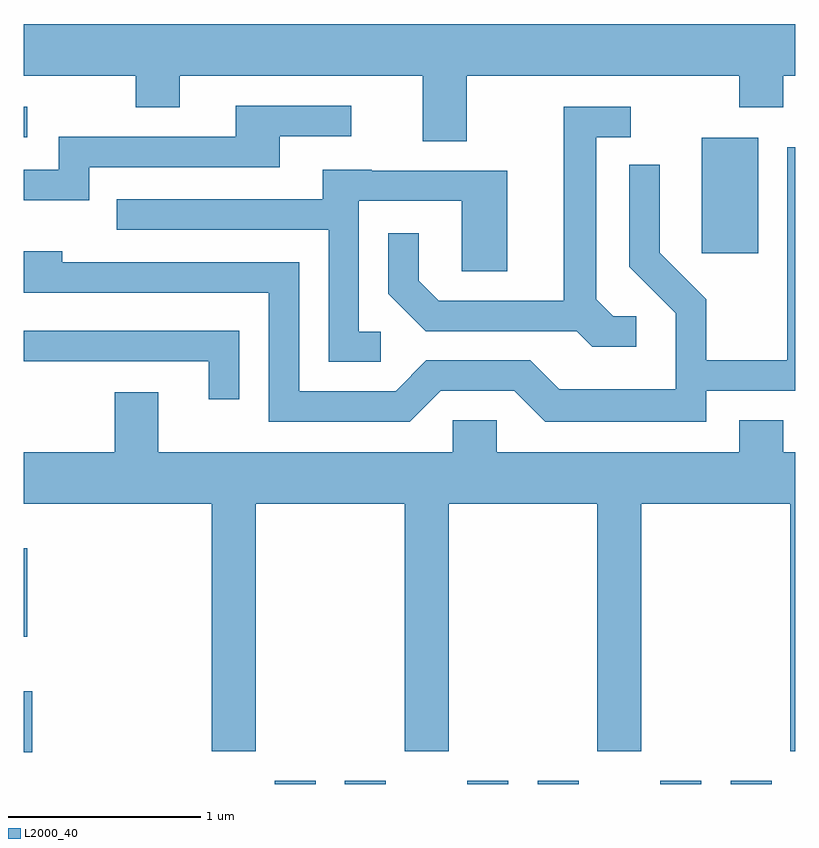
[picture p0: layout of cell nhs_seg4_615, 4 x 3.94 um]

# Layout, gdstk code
import gdstk
lib = gdstk.Library(unit=1e-6, precision=1e-09)
def R(c, l, rs):  # rectangles x0, y0, x1, y1
    for r in rs: c.add(gdstk.rectangle(r[:2], r[2:], *l))
def P(c, l, *ps):  # polygons
    for p in ps: c.add(gdstk.Polygon(p, *l))
L2000_40 = (2000, 40)

nhs_seg4_615 = lib.new_cell('nhs_seg4_615')
R(nhs_seg4_615, L2000_40, [(204.911,1259.982,205.124,1259.999), (205.276,1259.982,205.489,1259.999), (205.911,1259.982,206.124,1259.999), (206.276,1259.982,206.489,1259.999), (206.911,1259.982,207.124,1259.999), (207.276,1259.982,207.489,1259.999), (203.611,1260.146,203.654,1260.464), (203.611,1260.746,203.629,1261.204), (207.126,1262.736,207.419,1263.334), (203.611,1263.336,203.628,1263.494)])
P(nhs_seg4_615, L2000_40, [(205.909,1263.656),(207.321,1263.656),(207.321,1263.491),(207.549,1263.491),(207.549,1263.656),(207.611,1263.656),(207.611,1263.924),(203.611,1263.924),(203.611,1263.656),(204.191,1263.656),(204.191,1263.491),(204.419,1263.491),(204.419,1263.656),(205.681,1263.656),(205.681,1263.316),(205.909,1263.316)],
  [(203.949,1263.181),(204.939,1263.181),(204.939,1263.341),(205.308,1263.341),(205.308,1263.499),(204.711,1263.499),(204.711,1263.339),(203.791,1263.339),(203.791,1263.169),(203.611,1263.169),(203.611,1263.011),(203.949,1263.011)],
  [(206.788,1262.409),(206.667,1262.409),(206.579,1262.497),(206.579,1263.336),(206.758,1263.336),(206.758,1263.494),(206.411,1263.494),(206.411,1262.489),(205.762,1262.489),(205.659,1262.592),(205.659,1262.838),(205.501,1262.838),(205.501,1262.524),(205.694,1262.331),(206.479,1262.331),(206.559,1262.251),(206.788,1262.251)],
  [(205.772,1262.021),(206.154,1262.021),(206.314,1261.861),(207.149,1261.861),(207.149,1262.021),(207.611,1262.021),(207.611,1263.284),(207.571,1263.284),(207.571,1262.179),(207.149,1262.179),(207.149,1262.497),(206.909,1262.737),(206.909,1263.193),(206.751,1263.193),(206.751,1262.664),(206.991,1262.424),(206.991,1262.029),(206.387,1262.029),(206.237,1262.179),(205.699,1262.179),(205.539,1262.019),(205.039,1262.019),(205.039,1262.689),(203.809,1262.689),(203.809,1262.744),(203.611,1262.744),(203.611,1262.531),(204.881,1262.531),(204.881,1261.861),(205.612,1261.861)],
  [(205.463,1262.329),(205.349,1262.329),(205.349,1263.006),(205.881,1263.006),(205.881,1262.641),(206.119,1262.641),(206.119,1263.164),(205.415,1263.164),(205.415,1263.169),(205.161,1263.169),(205.161,1263.014),(204.093,1263.014),(204.093,1262.856),(205.191,1262.856),(205.191,1262.171),(205.463,1262.171)],
  [(204.729,1262.334),(203.611,1262.334),(203.611,1262.176),(204.571,1262.176),(204.571,1261.978),(204.729,1261.978)],
  [(204.814,1261.436),(205.586,1261.436),(205.586,1260.151),(205.814,1260.151),(205.814,1261.436),(206.586,1261.436),(206.586,1260.151),(206.814,1260.151),(206.814,1261.436),(207.586,1261.436),(207.586,1260.151),(207.611,1260.151),(207.611,1261.704),(207.549,1261.704),(207.549,1261.869),(207.321,1261.869),(207.321,1261.704),(206.064,1261.704),(206.064,1261.869),(205.836,1261.869),(205.836,1261.704),(204.309,1261.704),(204.309,1262.014),(204.081,1262.014),(204.081,1261.704),(203.611,1261.704),(203.611,1261.436),(204.586,1261.436),(204.586,1260.151),(204.814,1260.151)])

lib.write_gds('nhs_seg4_615.gds')
